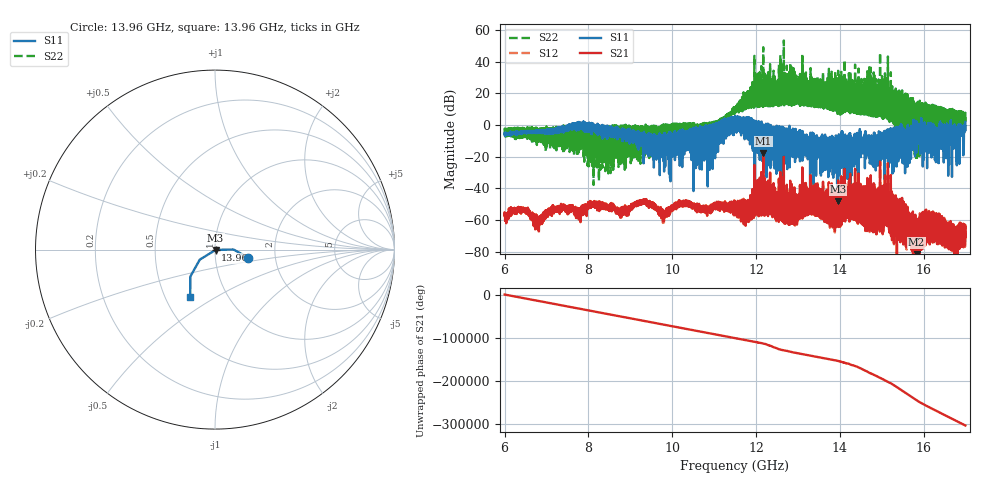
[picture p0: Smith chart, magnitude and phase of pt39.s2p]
#  HZ  S  RI  R  50.00
! Rohde & Schwarz Vector Network Analyzer
! Rohde-Schwarz,ZNA67-2Port,1332450062101215,3.01
! Created: UTC 10/15/2026, 4:21:42 PM
! freq[Hz]  re:S11  im:S11  re:S21  im:S21  re:S12  im:S12  re:S22  im:S22
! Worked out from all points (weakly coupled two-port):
!   11001 points, 6 GHz to 17 GHz, reference 50 ohm
!   highest |S21| = -17.65 dB at 12.17 GHz (marker M1); lowest = -84.2 dB at 15.83 GHz (marker M2)
!   lowest |S11| = -48.2 dB at 13.96 GHz (marker M3), VSWR 1.01, Z = 50.4 - j0.172 ohm
!   |S11| at or under -10 dB: 13.47957 GHz to 13.51907 GHz (39.5 MHz wide, 0.293 % of centre); 13.59814 GHz to 13.64677 GHz (48.63 MHz wide, 0.357 % of centre); 13.77206 GHz to 13.80297 GHz (30.91 MHz wide, 0.224 % of centre) (the widest 3 of 526)
!   |S22| runs from -37.8 to 53.5 dB; largest |S21 - S12| = 0.14
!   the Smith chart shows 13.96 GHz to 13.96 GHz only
!   S11 on the Smith chart (normalised r, x): 13.96 GHz: 1.45, -0.13; 13.96 GHz: 1.01, -0.00; 13.96 GHz: 0.67, -0.38
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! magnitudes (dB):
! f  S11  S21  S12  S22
! 6 GHz  -5.1  -55.5  -55.4  -6.3
! 6.453 GHz  -4.4  -53.4  -53.3  -5.8
! 6.778 GHz  -3.7  -63.6  -63.6  -2.6
! 7.189 GHz  -2.6  -54.4  -54.2  -9.3
! 7.834 GHz  -0.4  -53.1  -52.8  -6.3
! 8.091 GHz  -0.4  -49.2  -48.8  -7.7
! 8.793 GHz  -7.3  -52.2  -52.0  -1.5
! 9.327 GHz  -5.5  -48.8  -48.7  -7.9
! 9.667 GHz  -12.7  -52.8  -52.9  -3.9
! 10.83 GHz  -6.2  -55.4  -55.2  0.9
! 11.5 GHz  5.3  -53.4  -53.7  9.1
! 12.17 GHz  -30.3  -17.6  -17.8  49.2
! 12.83 GHz  -7.2  -59.2  -58.6  15.1
! 13.33 GHz  -9.3  -52.6  -52.9  15.3
! 13.96 GHz  -14.4  -44.6  -44.7  24.1
! 13.96 GHz  -48.2  -59.4  -60.1  9.3
! 13.96 GHz  -10.6  -34.9  -35.2  34.3
! 15.17 GHz  -9.3  -61.1  -61.8  4.6
! 15.83 GHz  2.4  -84.2  -84.0  -22.5
! 16.15 GHz  -0.6  -71.7  -69.2  -4.6
! 16.57 GHz  -0.4  -76.7  -76.8  -4.0
! 17 GHz  2.0  -70.9  -71.2  1.8
